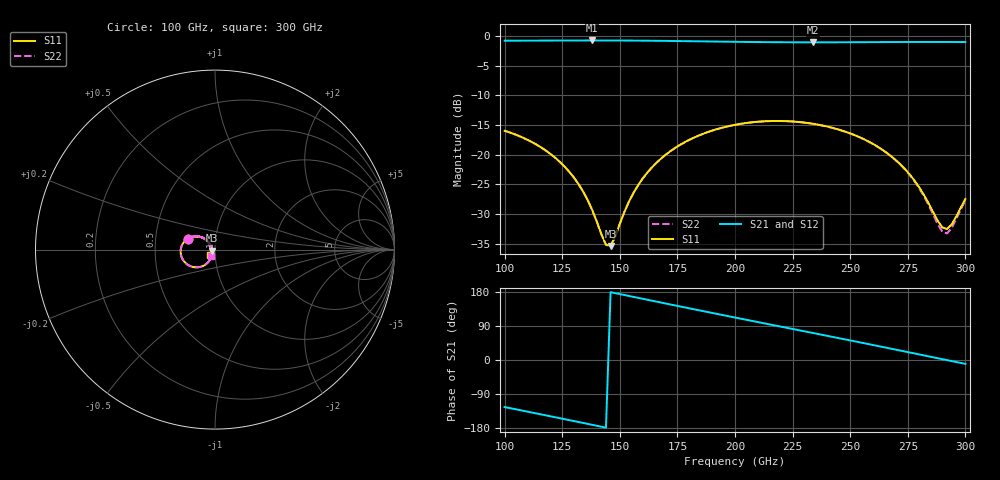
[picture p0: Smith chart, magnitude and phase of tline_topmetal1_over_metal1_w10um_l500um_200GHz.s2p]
#  GHZ S DB R 50
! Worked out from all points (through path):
!   101 points, 100 GHz to 300 GHz, reference 50 ohm
!   highest |S21| = -0.77 dB at 138 GHz (marker M1); lowest = -1.1 dB at 234 GHz (marker M2)
!   group delay of S21, straight-line fit = 3.41 ps
!   lowest |S11| = -35.4 dB at 146 GHz (marker M3), VSWR 1.03, Z = 48.4 - j0.493 ohm
!   |S11| at or under -10 dB: start of sweep to end of sweep
!   |S22| runs from -35.4 to -14.3 dB; largest |S21 - S12| = 1.1e-14
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100  -15.97 158.4  -0.81 -124.2  -0.81 -124.2  -15.97 158.4
110  -17.51 147.4  -0.80 -136.4  -0.80 -136.4  -17.52 147.3
120  -19.91 137.4  -0.78 -148.7  -0.78 -148.7  -19.91 137.4
128  -22.85 131.5  -0.77 -158.6  -0.77 -158.6  -22.85 131.4
134  -26.15 130.5  -0.77 -166.0  -0.77 -166.0  -26.16 130.4
138  -29.29 134.9  -0.77 -171.0  -0.77 -171.0  -29.31 134.8
144  -35.16 171.8  -0.77 -178.5  -0.77 -178.5  -35.21 171.7
146  -35.35 -162.6  -0.77 179.0  -0.77 179.0  -35.41 -162.6
156  -26.39 -116.8  -0.79 166.5  -0.79 166.5  -26.40 -116.7
162  -22.99 -117.3  -0.81 159.0  -0.81 159.0  -23.00 -117.3
168  -20.62 -121.3  -0.83 151.5  -0.83 151.5  -20.62 -121.3
182  -17.16 -134.6  -0.90 134.1  -0.90 134.1  -17.16 -134.7
200  -14.97 -154.0  -0.99 112.1  -0.99 112.1  -14.98 -154.1
216  -14.33 -171.6  -1.06 92.7  -1.06 92.7  -14.34 -171.8
234  -14.81 168.8  -1.08 71.0  -1.08 71.0  -14.82 168.6
252  -16.72 150.2  -1.06 49.2  -1.06 49.2  -16.74 149.8
268  -20.32 136.4  -1.03 29.6  -1.03 29.6  -20.37 135.6
278  -24.40 133.5  -1.02 17.2  -1.02 17.2  -24.52 132.2
290  -32.25 171.3  -1.02 2.2  -1.02 2.2  -32.96 170.6
292  -32.52 -171.2  -1.02 -0.3  -1.02 -0.3  -33.26 -170.1
294  -31.78 -154.8  -1.02 -2.8  -1.02 -2.8  -32.38 -152.2
300  -27.46 -129.4  -1.04 -10.3  -1.04 -10.3  -27.66 -126.7
